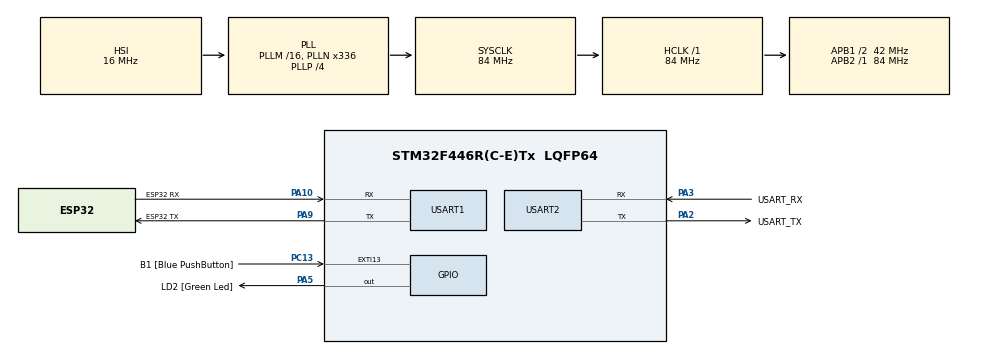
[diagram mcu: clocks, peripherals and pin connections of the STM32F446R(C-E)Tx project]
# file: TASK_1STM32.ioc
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FREERTOS.Tasks01=defaultTask,24,128,StartDefaultTask,Default,NULL,Dynamic,NULL,NULL
Mcu.Family=STM32F4
Mcu.Name=STM32F446R(C-E)Tx
Mcu.Package=LQFP64
NVIC.PriorityGroup=NVIC_PRIORITYGROUP_4
NVIC.USART1_IRQn=true\:5\:0\:false\:false\:true\:true\:true\:true\:true
PA10.GPIO_Label=ESP32 RX
PA10.Mode=Asynchronous
PA10.Signal=USART1_RX
PA13.GPIO_Label=TMS
PA13.Mode=Serial_Wire
PA13.Signal=SYS_JTMS-SWDIO
PA14.GPIO_Label=TCK
PA14.Mode=Serial_Wire
PA14.Signal=SYS_JTCK-SWCLK
PA2.GPIO_Label=USART_TX
PA2.Mode=Asynchronous
PA2.Signal=USART2_TX
PA3.GPIO_Label=USART_RX
PA3.Mode=Asynchronous
PA3.Signal=USART2_RX
PA5.GPIO_Label=LD2 [Green Led]
PA5.Signal=GPIO_Output
PA9.GPIO_Label=ESP32 TX
PA9.Mode=Asynchronous
PA9.Signal=USART1_TX
PB3.GPIO_Label=SWO
PB3.Signal=SYS_JTDO-SWO
PC13.GPIO_Label=B1 [Blue PushButton]
PC13.GPIO_ModeDefaultEXTI=GPIO_MODE_IT_FALLING
PC13.Signal=GPXTI13
PC14-OSC32_IN.Mode=LSE-External-Oscillator
PC14-OSC32_IN.Signal=RCC_OSC32_IN
PC15-OSC32_OUT.Mode=LSE-External-Oscillator
PC15-OSC32_OUT.Signal=RCC_OSC32_OUT
PH0-OSC_IN.Mode=HSE-External-Oscillator
PH0-OSC_IN.Signal=RCC_OSC_IN
PH1-OSC_OUT.Mode=HSE-External-Oscillator
PH1-OSC_OUT.Signal=RCC_OSC_OUT
ProjectManager.HeapSize=0x200
ProjectManager.StackSize=0x400
ProjectManager.TargetToolchain=STM32CubeIDE
RCC.48MHZClocksFreq_Value=84000000
RCC.AHBFreq_Value=84000000
RCC.APB1CLKDivider=RCC_HCLK_DIV2
RCC.APB1Freq_Value=42000000
RCC.APB1TimFreq_Value=84000000
RCC.APB2Freq_Value=84000000
RCC.APB2TimFreq_Value=84000000
RCC.CortexFreq_Value=84000000
RCC.FLatency-AdvancedSettings=FLASH_LATENCY_2
RCC.HCLKFreq_Value=84000000
RCC.HSE_VALUE=8000000
RCC.HSI_VALUE=16000000
RCC.PLLN=336
RCC.PLLP=RCC_PLLP_DIV4
RCC.SYSCLKFreq_VALUE=84000000
RCC.SYSCLKSource=RCC_SYSCLKSOURCE_PLLCLK
RCC.USBFreq_Value=168000000
RCC.VCOOutputFreq_Value=336000000
USART1.VirtualMode=VM_ASYNC
USART2.VirtualMode=VM_ASYNC
VP_FREERTOS_VS_CMSIS_V2.Mode=CMSIS_V2
board=NUCLEO-F446RE

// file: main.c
/* USER CODE BEGIN Header */
/**
  ******************************************************************************
  * @file           : main.c
  * @brief          : STM32 host + ESP32 AT-command Wi-Fi/MQTT modem
  ******************************************************************************
  * @attention
  *
  * Copyright (c) 2026 STMicroelectronics.
  * All rights reserved.
  *
  * This software is licensed under terms that can be found in the LICENSE file
  * in the root directory of this software component.
  * If no LICENSE file comes with this software, it is provided AS-IS.
  *
  ******************************************************************************
  *
  * OPTION B - Cloud connectivity via AT commands (STM32 host + ESP32 modem)
  * ------------------------------------------------------------------------
  *  USART2 (ST-Link virtual COM, 115200 8N1) : serial terminal / provisioning
  *  USART1 (115200 8N1)                      : UART link to ESP32 (ESP-AT fw)
  *
  *  Wiring (Nucleo-64):  PA9  (USART1_TX, D8) -> ESP32 AT-RX (default GPIO16)
  *                       PA10 (USART1_RX, D2) <- ESP32 AT-TX (default GPIO17)
  *                       GND                  -- ESP32 GND
  *
  *  Features
  *   - Dynamic provisioning of Wi-Fi SSID / password (and MQTT broker) from the
  *     serial terminal - nothing is hard-coded. Press B1 or type "reprov" at
  *     any time to provision again.
  *   - ESP32 configured with AT+CWMODE=1 and joined with AT+CWJAP.
  *   - MQTT over AT (AT+MQTTUSERCFG / MQTTCONNCFG / MQTTCONN / MQTTSUB).
  *   - Heartbeat task publishes a "keep-alive" message every 30 s.
  *   - Interrupt-driven UART Rx + dedicated parser task monitor the ESP32
  *     continuously for incoming cloud commands (+MQTTSUBRECV) and link events.
  *   - Automatic reconnect with exponential back-off, LWT "offline" message.
  *
  *  Cloud commands (publish to  stm32esp/<device-id>/cmd ):
  *     LED_ON | LED_OFF | LED_TOGGLE | PING | STATUS
  *  Replies are published to    stm32esp/<device-id>/resp
  *
  *  REQUIRED CubeMX / project settings (see also the notes at the end)
  *   - NVIC: enable "USART1 global interrupt", "USART2 global interrupt" and
  *           "EXTI line[15:10] interrupts" (B1 button).
  *   - FreeRTOS: configTOTAL_HEAP_SIZE >= 24576 bytes.
  *   - FreeRTOS: configUSE_TIMERS = 1 (needed for event flags from an ISR).
  *
  ******************************************************************************
  */
/* USER CODE END Header */
#include "main.h"
#include "cmsis_os.h"

/* USER CODE BEGIN Includes */
#include <stdio.h>
#include <stdlib.h>
#include <string.h>
#include <strings.h>
#include <stdarg.h>
#include <stdbool.h>
/* USER CODE END Includes */

/* USER CODE BEGIN PTD */
typedef enum {
  AT_OK = 0,
  AT_ERROR,
  AT_TIMEOUT,
  AT_BUSY,
  AT_BAD_PARAM
} AtStatus_t;

typedef enum {
  SESS_OK = 0,
  SESS_RETRY,
  SESS_BAD_CREDS,
  SESS_ESP_DEAD
} SessResult_t;

typedef enum {
  MON_REPROV = 0,
  MON_LINK_LOST
} MonResult_t;

typedef struct {
  char     ssid[33];     /* WIFI_SSID_MAX + 1 */
  char     pass[64];     /* WIFI_PASS_MAX + 1 */
  char     host[65];     /* MQTT_HOST_MAX + 1 */
  uint16_t port;
} Provision_t;

typedef struct {
  char text[48];
} CloudCmd_t;

typedef struct {
  char     buf[80];
  uint16_t len;
  uint8_t  lastCR;
} LineEditor_t;
/* USER CODE END PTD */

/* USER CODE BEGIN PD */
/* ---- Debug ---- */
#define AT_TRACE                1       /* 1 = print AT traffic on terminal (passwords hidden) */

/* ---- Limits ---- */
#define AT_MAX_CMD_LEN          256U    /* ESP-AT limit for one command line */
#define AT_RESP_BUF_LEN         192U
#define ESP_LINE_MAX            384U
#define CONSOLE_LINE_MAX        80U
#define WIFI_SSID_MAX           32U
#define WIFI_PASS_MAX           63U
#define MQTT_HOST_MAX           64U
#define CMD_TEXT_MAX            48U

/* ---- Timing (ms) ---- */
#define AT_MUTEX_TIMEOUT_MS     30000U
#define ESP_BOOT_TIMEOUT_MS     8000U
#define WIFI_JOIN_TIMEOUT_MS    25000U
#define MQTT_CONN_TIMEOUT_MS    20000U
#define HEARTBEAT_PERIOD_MS     30000U  /* requirement: 30 s keep-alive */
#define HEARTBEAT_MAX_FAILS     3U
#define BACKOFF_MIN_MS          2000U
#define BACKOFF_MAX_MS          30000U
#define WIFI_MAX_JOIN_FAILS     3U

/* ---- MQTT ---- */
#define MQTT_DEFAULT_HOST       "broker.emqx.io"
#define MQTT_DEFAULT_PORT       "1883"
#define MQTT_KEEPALIVE_S        60U
#define MQTT_LINK_ID            0

/* ---- Interrupt priority (must be >= configLIBRARY_MAX_SYSCALL_INTERRUPT_PRIORITY) ---- */
#define APP_IRQ_PRIO            5U

/* ---- Event flags: system level ---- */
#define EVT_WIFI_LOST           (1UL << 0)
#define EVT_MQTT_LOST           (1UL << 1)
#define EVT_REPROV              (1UL << 2)
#define EVT_ALL                 (EVT_WIFI_LOST | EVT_MQTT_LOST | EVT_REPROV)

/* ---- Event flags: AT response ---- */
#define AT_EVT_OK               (1UL << 0)
#define AT_EVT_ERR              (1UL << 1)
#define AT_EVT_READY            (1UL << 2)

/* ms -> RTOS ticks */
#define MS2T(ms)                (((uint32_t)(ms) * osKernelGetTickFreq()) / 1000U)
/* USER CODE END PD */

UART_HandleTypeDef huart1;
UART_HandleTypeDef huart2;

/* Definitions for defaultTask */
osThreadId_t defaultTaskHandle;
const osThreadAttr_t defaultTask_attributes = {
  .name = "defaultTask",
  .stack_size = 768 * 4,
  .priority = (osPriority_t) osPriorityNormal,
};
/* USER CODE BEGIN PV */
/* RTOS objects */
static osMutexId_t         atMutexHandle;
static osMutexId_t         respMutexHandle;
static osMutexId_t         logMutexHandle;
static osMessageQueueId_t  espRxQueueHandle;
static osMessageQueueId_t  consoleRxQueueHandle;
static osMessageQueueId_t  cmdQueueHandle;
static osEventFlagsId_t    sysEventsHandle;
static osEventFlagsId_t    atEventsHandle;
static osThreadId_t        espRxTaskHandle;
static osThreadId_t        heartbeatTaskHandle;
static osThreadId_t        cmdTaskHandle;

static const osMutexAttr_t atMutex_attr   = { .name = "atMutex",   .attr_bits = osMutexPrioInherit };
static const osMutexAttr_t respMutex_attr = { .name = "respMutex", .attr_bits = osMutexPrioInherit };
static const osMutexAttr_t logMutex_attr  = { .name = "logMutex",  .attr_bits = osMutexPrioInherit };

static const osThreadAttr_t espRxTask_attr = {
  .name = "espRx", .stack_size = 512 * 4, .priority = (osPriority_t) osPriorityAboveNormal,
};
static const osThreadAttr_t heartbeatTask_attr = {
  .name = "heartbeat", .stack_size = 512 * 4, .priority = (osPriority_t) osPriorityNormal,
};
static const osThreadAttr_t cmdTask_attr = {
  .name = "cloudCmd", .stack_size = 512 * 4, .priority = (osPriority_t) osPriorityNormal,
};

/* UART single-byte receive buffers (interrupt driven) */
static uint8_t espRxByte;
static uint8_t consoleRxByte;
static volatile uint32_t espRxDropped;

/* Link state shared between tasks */
static volatile bool wifiUp;
static volatile bool mqttUp;
static volatile bool atPending;
static volatile uint32_t hbCount;
static volatile uint32_t cmdCount;

/* AT engine buffers (protected by atMutex / respMutex / logMutex) */
static char   atTxBuf[AT_MAX_CMD_LEN + 3U];
static char   respBuf[AT_RESP_BUF_LEN];
static size_t respLen;
static char   logBuf[320];

/* Provisioned configuration (RAM only - entered at run time) */
static Provision_t cfg;
static bool        credsVerified;

/* Device identity / topics (built at start-up) */
static char deviceId[24];
static char topicHb[64];
static char topicCmd[64];
static char topicResp[64];
static char topicStatus[64];
/* USER CODE END PV */

void SystemClock_Config(void);
static void MX_GPIO_Init(void);
static void MX_USART1_UART_Init(void);
static void MX_USART2_UART_Init(void);
void StartDefaultTask(void *argument);

/* USER CODE BEGIN PFP */
static void Console_Out(bool stamp, const char *fmt, va_list ap);
static void Log(const char *fmt, ...);
static void Console_Printf(const char *fmt, ...);
static bool Console_Feed(LineEditor_t *ed, uint8_t c, bool mask, uint16_t maxLen);
static void Console_ReadLineBlocking(char *out, size_t outSize, bool mask);
static bool Console_Poll(uint32_t timeoutMs, char *out, size_t outSize);
static void Console_Prompt(const char *label, const char *def, bool required,
                           bool mask, char *out, size_t outSize);
static void Console_Command(const char *line);

static bool AT_Escape(const char *in, char *out, size_t outSize);
static AtStatus_t AT_Command(uint32_t timeoutMs, char *respOut, size_t respSize,
                             const char *fmt, ...);
static void ESP_ProcessLine(char *line);
static void ESP_HandleMqttRx(const char *line);
static bool ESP_Init(void);
static SessResult_t WiFi_Connect(void);
static SessResult_t MQTT_Connect(void);
static SessResult_t Session_Establish(void);
static bool MQTT_Publish(const char *topic, const char *payload, int qos, int retain);

static void Provision_Run(void);
static MonResult_t Monitor_Loop(void);
static void App_BuildIdentity(void);

static void ESP_RxTask(void *argument);
static void Heartbeat_Task(void *argument);
static void Cmd_Task(void *argument);
/* USER CODE END PFP */

int main(void)
{

  /* MCU Configuration--------------------------------------------------------*/

  /* Reset of all peripherals, Initializes the Flash interface and the Systick. */
  HAL_Init();

  /* Configure the system clock */
  SystemClock_Config();

  /* Initialize all configured peripherals */
  MX_GPIO_Init();
  MX_USART1_UART_Init();
  MX_USART2_UART_Init();
  /* USER CODE BEGIN 2 */
  /* Interrupt priorities must be FreeRTOS-safe because the UART/EXTI callbacks
     use the RTOS "FromISR" APIs. (Interrupts only fire once reception is armed
     from inside the tasks, i.e. after the scheduler is running.) */
  HAL_NVIC_SetPriority(USART1_IRQn, APP_IRQ_PRIO, 0);
  HAL_NVIC_EnableIRQ(USART1_IRQn);
  HAL_NVIC_SetPriority(USART2_IRQn, APP_IRQ_PRIO, 0);
  HAL_NVIC_EnableIRQ(USART2_IRQn);
  HAL_NVIC_SetPriority(EXTI15_10_IRQn, APP_IRQ_PRIO, 0);
  HAL_NVIC_EnableIRQ(EXTI15_10_IRQn);
  /* USER CODE END 2 */

  /* Init scheduler */
  osKernelInitialize();

  /* USER CODE BEGIN RTOS_MUTEX */
  atMutexHandle   = osMutexNew(&atMutex_attr);
  respMutexHandle = osMutexNew(&respMutex_attr);
  logMutexHandle  = osMutexNew(&logMutex_attr);
  if ((atMutexHandle == NULL) || (respMutexHandle == NULL) || (logMutexHandle == NULL))
  {
    Error_Handler();
  }
  /* USER CODE END RTOS_MUTEX */

  /* USER CODE BEGIN RTOS_QUEUES */
  espRxQueueHandle     = osMessageQueueNew(1024, sizeof(uint8_t),     NULL);
  consoleRxQueueHandle = osMessageQueueNew(64,   sizeof(uint8_t),     NULL);
  cmdQueueHandle       = osMessageQueueNew(4,    sizeof(CloudCmd_t),  NULL);
  if ((espRxQueueHandle == NULL) || (consoleRxQueueHandle == NULL) || (cmdQueueHandle == NULL))
  {
    Error_Handler();
  }
  /* USER CODE END RTOS_QUEUES */

  /* Create the thread(s) */
  /* creation of defaultTask */
  defaultTaskHandle = osThreadNew(StartDefaultTask, NULL, &defaultTask_attributes);

  /* USER CODE BEGIN RTOS_THREADS */
  espRxTaskHandle     = osThreadNew(ESP_RxTask,       NULL, &espRxTask_attr);
  heartbeatTaskHandle = osThreadNew(Heartbeat_Task,   NULL, &heartbeatTask_attr);
  cmdTaskHandle       = osThreadNew(Cmd_Task,         NULL, &cmdTask_attr);
  if ((defaultTaskHandle == NULL) || (espRxTaskHandle == NULL) ||
      (heartbeatTaskHandle == NULL) || (cmdTaskHandle == NULL))
  {
    Error_Handler();
  }
  /* USER CODE END RTOS_THREADS */

  /* USER CODE BEGIN RTOS_EVENTS */
  sysEventsHandle = osEventFlagsNew(NULL);
  atEventsHandle  = osEventFlagsNew(NULL);
  if ((sysEventsHandle == NULL) || (atEventsHandle == NULL))
  {
    Error_Handler();
  }
  /* USER CODE END RTOS_EVENTS */

  /* Start scheduler */
  osKernelStart();

  /* We should never get here as control is now taken by the scheduler */

  /* Infinite loop */
  while (1)
  {

  }
}

void SystemClock_Config(void)
{
  RCC_OscInitTypeDef RCC_OscInitStruct = {0};
  RCC_ClkInitTypeDef RCC_ClkInitStruct = {0};

  /** Configure the main internal regulator output voltage
  */
  __HAL_RCC_PWR_CLK_ENABLE();
  __HAL_PWR_VOLTAGESCALING_CONFIG(PWR_REGULATOR_VOLTAGE_SCALE3);

  /** Initializes the RCC Oscillators according to the specified parameters
  * in the RCC_OscInitTypeDef structure.
  */
  RCC_OscInitStruct.OscillatorType = RCC_OSCILLATORTYPE_HSI;
  RCC_OscInitStruct.HSIState = RCC_HSI_ON;
  RCC_OscInitStruct.HSICalibrationValue = RCC_HSICALIBRATION_DEFAULT;
  RCC_OscInitStruct.PLL.PLLState = RCC_PLL_ON;
  RCC_OscInitStruct.PLL.PLLSource = RCC_PLLSOURCE_HSI;
  RCC_OscInitStruct.PLL.PLLM = 16;
  RCC_OscInitStruct.PLL.PLLN = 336;
  RCC_OscInitStruct.PLL.PLLP = RCC_PLLP_DIV4;
  RCC_OscInitStruct.PLL.PLLQ = 2;
  RCC_OscInitStruct.PLL.PLLR = 2;
  if (HAL_RCC_OscConfig(&RCC_OscInitStruct) != HAL_OK)
  {
    Error_Handler();
  }

  /** Initializes the CPU, AHB and APB buses clocks
  */
  RCC_ClkInitStruct.ClockType = RCC_CLOCKTYPE_HCLK|RCC_CLOCKTYPE_SYSCLK
                              |RCC_CLOCKTYPE_PCLK1|RCC_CLOCKTYPE_PCLK2;
  RCC_ClkInitStruct.SYSCLKSource = RCC_SYSCLKSOURCE_PLLCLK;
  RCC_ClkInitStruct.AHBCLKDivider = RCC_SYSCLK_DIV1;
  RCC_ClkInitStruct.APB1CLKDivider = RCC_HCLK_DIV2;
  RCC_ClkInitStruct.APB2CLKDivider = RCC_HCLK_DIV1;

  if (HAL_RCC_ClockConfig(&RCC_ClkInitStruct, FLASH_LATENCY_2) != HAL_OK)
  {
    Error_Handler();
  }
}

static void MX_USART1_UART_Init(void)
{

  huart1.Instance = USART1;
  huart1.Init.BaudRate = 115200;
  huart1.Init.WordLength = UART_WORDLENGTH_8B;
  huart1.Init.StopBits = UART_STOPBITS_1;
  huart1.Init.Parity = UART_PARITY_NONE;
  huart1.Init.Mode = UART_MODE_TX_RX;
  huart1.Init.HwFlowCtl = UART_HWCONTROL_NONE;
  huart1.Init.OverSampling = UART_OVERSAMPLING_16;
  if (HAL_UART_Init(&huart1) != HAL_OK)
  {
    Error_Handler();
  }

}

static void MX_USART2_UART_Init(void)
{

  huart2.Instance = USART2;
  huart2.Init.BaudRate = 115200;
  huart2.Init.WordLength = UART_WORDLENGTH_8B;
  huart2.Init.StopBits = UART_STOPBITS_1;
  huart2.Init.Parity = UART_PARITY_NONE;
  huart2.Init.Mode = UART_MODE_TX_RX;
  huart2.Init.HwFlowCtl = UART_HWCONTROL_NONE;
  huart2.Init.OverSampling = UART_OVERSAMPLING_16;
  if (HAL_UART_Init(&huart2) != HAL_OK)
  {
    Error_Handler();
  }

}

static void MX_GPIO_Init(void)
{
  GPIO_InitTypeDef GPIO_InitStruct = {0};

  /* GPIO Ports Clock Enable */
  __HAL_RCC_GPIOC_CLK_ENABLE();
  __HAL_RCC_GPIOH_CLK_ENABLE();
  __HAL_RCC_GPIOA_CLK_ENABLE();
  __HAL_RCC_GPIOB_CLK_ENABLE();

  /*Configure GPIO pin Output Level */
  HAL_GPIO_WritePin(LD2_GPIO_Port, LD2_Pin, GPIO_PIN_RESET);

  /*Configure GPIO pin : B1_Pin */
  GPIO_InitStruct.Pin = B1_Pin;
  GPIO_InitStruct.Mode = GPIO_MODE_IT_FALLING;
  GPIO_InitStruct.Pull = GPIO_NOPULL;
  HAL_GPIO_Init(B1_GPIO_Port, &GPIO_InitStruct);

  /*Configure GPIO pin : LD2_Pin */
  GPIO_InitStruct.Pin = LD2_Pin;
  GPIO_InitStruct.Mode = GPIO_MODE_OUTPUT_PP;
  GPIO_InitStruct.Pull = GPIO_NOPULL;
  GPIO_InitStruct.Speed = GPIO_SPEED_FREQ_LOW;
  HAL_GPIO_Init(LD2_GPIO_Port, &GPIO_InitStruct);

}

/* USER CODE BEGIN 4 */

/* ===========================================================================
 *  HAL callbacks (ISR context)
 * ========================================================================= */

void HAL_UART_RxCpltCallback(UART_HandleTypeDef *huart)
{
  if (huart->Instance == USART1)            /* byte from ESP32 */
  {
    if (osMessageQueuePut(espRxQueueHandle, &espRxByte, 0, 0) != osOK)
    {
      espRxDropped++;
    }
    (void)HAL_UART_Receive_IT(&huart1, &espRxByte, 1);
  }
  else if (huart->Instance == USART2)       /* byte from serial terminal */
  {
    (void)osMessageQueuePut(consoleRxQueueHandle, &consoleRxByte, 0, 0);
    (void)HAL_UART_Receive_IT(&huart2, &consoleRxByte, 1);
  }
}

void HAL_UART_ErrorCallback(UART_HandleTypeDef *huart)
{
  /* Overrun / framing / noise: make sure reception keeps running.
     (Returns HAL_BUSY, harmlessly, if the HAL already kept it running.) */
  if (huart->Instance == USART1)
  {
    (void)HAL_UART_Receive_IT(&huart1, &espRxByte, 1);
  }
  else if (huart->Instance == USART2)
  {
    (void)HAL_UART_Receive_IT(&huart2, &consoleRxByte, 1);
  }
}

void HAL_GPIO_EXTI_Callback(uint16_t GPIO_Pin)
{
  static uint32_t lastPress = 0;

  if (GPIO_Pin == B1_Pin)
  {
    uint32_t now = HAL_GetTick();
    if (((now - lastPress) > 300U) && (sysEventsHandle != NULL) &&
        (osKernelGetState() == osKernelRunning))
    {
      lastPress = now;
      (void)osEventFlagsSet(sysEventsHandle, EVT_REPROV);   /* B1 = re-provision */
    }
  }
}

/* ===========================================================================
 *  Console (USART2) helpers
 * ========================================================================= */

static void Console_Out(bool stamp, const char *fmt, va_list ap)
{
  if (osMutexAcquire(logMutexHandle, MS2T(1000)) != osOK)
  {
    return;
  }

  int n = 0;
  if (stamp)
  {
    unsigned long t = (unsigned long)HAL_GetTick();
    n = snprintf(logBuf, sizeof(logBuf), "[%5lu.%03lu] ", t / 1000UL, t % 1000UL);
  }

  size_t cap = sizeof(logBuf) - (size_t)n - 3U;           /* room for "\r\n" + NUL */
  int m = vsnprintf(&logBuf[n], cap, fmt, ap);
  if (m < 0)
  {
    m = 0;
  }
  if ((size_t)m >= cap)
  {
    m = (int)cap - 1;                                      /* truncated */
  }
  n += m;

  if (stamp)
  {
    logBuf[n++] = '\r';
    logBuf[n++] = '\n';
  }

  (void)HAL_UART_Transmit(&huart2, (uint8_t *)logBuf, (uint16_t)n, 500);
  (void)osMutexRelease(logMutexHandle);
}

/* Time-stamped log line (adds CRLF) */
static void Log(const char *fmt, ...)
{
  va_list ap;
  va_start(ap, fmt);
  Console_Out(true, fmt, ap);
  va_end(ap);
}

/* Raw output (no time stamp, no automatic newline) */
static void Console_Printf(const char *fmt, ...)
{
  va_list ap;
  va_start(ap, fmt);
  Console_Out(false, fmt, ap);
  va_end(ap);
}

/* Feed one received character into a line editor. Returns true when a full
   line is available in ed->buf (NUL-terminated). Handles echo + backspace. */
static bool Console_Feed(LineEditor_t *ed, uint8_t c, bool mask, uint16_t maxLen)
{
  if ((c == '\r') || (c == '\n'))
  {
    if ((c == '\n') && ed->lastCR)          /* second half of CRLF */
    {
      ed->lastCR = 0;
      return false;
    }
    ed->lastCR = (c == '\r') ? 1U : 0U;
    ed->buf[ed->len] = '\0';
    ed->len = 0;
    Console_Printf("\r\n");
    return true;
  }

  ed->lastCR = 0;

  if ((c == 0x08U) || (c == 0x7FU))         /* backspace / delete */
  {
    if (ed->len > 0U)
    {
      ed->len--;
      Console_Printf("\b \b");
    }
    return false;
  }

  if ((c >= 0x20U) && (c < 0x7FU) && (ed->len < maxLen))
  {
    ed->buf[ed->len++] = (char)c;
    Console_Printf("%c", mask ? '*' : (char)c);
  }
  return false;
}

/* Blocking line read (used for provisioning prompts) */
static void Console_ReadLineBlocking(char *out, size_t outSize, bool mask)
{
  LineEditor_t ed;
  uint8_t c;
  uint16_t maxLen = (uint16_t)((outSize - 1U) < (CONSOLE_LINE_MAX - 1U) ? (outSize - 1U)
                                                                         : (CONSOLE_LINE_MAX - 1U));
  memset(&ed, 0, sizeof(ed));
  (void)osMessageQueueReset(consoleRxQueueHandle);

  for (;;)
  {
    if (osMessageQueueGet(consoleRxQueueHandle, &c, NULL, osWaitForever) == osOK)
    {
      if (Console_Feed(&ed, c, mask, maxLen))
      {
        strncpy(out, ed.buf, outSize - 1U);
        out[outSize - 1U] = '\0';
        return;
      }
    }
  }
}

/* Non-blocking-ish poll used by the monitor loop. true = a full line arrived */
static bool Console_Poll(uint32_t timeoutMs, char *out, size_t outSize)
{
  static LineEditor_t ed;
  uint8_t c;

  if (osMessageQueueGet(consoleRxQueueHandle, &c, NULL, MS2T(timeoutMs)) != osOK)
  {
    return false;
  }
  if (Console_Feed(&ed, c, false, CONSOLE_LINE_MAX - 1U))
  {
    strncpy(out, ed.buf, outSize - 1U);
    out[outSize - 1U] = '\0';
    return true;
  }
  return false;
}

static void Console_Prompt(const char *label, const char *def, bool required,
                           bool mask, char *out, size_t outSize)
{
  for (;;)
  {
    if ((def != NULL) && (def[0] != '\0'))
    {
      Console_Printf("  %s [%s]: ", label, def);
    }
    else
    {
      Console_Printf("  %s: ", label);
    }

    Console_ReadLineBlocking(out, outSize, mask);

    if (out[0] == '\0')
    {
      if ((def != NULL) && (def[0] != '\0'))
      {
        strncpy(out, def, outSize - 1U);
        out[outSize - 1U] = '\0';
        return;
      }
      if (!required)
      {
        return;
      }
      Console_Printf("  -> a value is required\r\n");
      continue;
    }
    return;
  }
}

/* ===========================================================================
 *  Application identity
 * ========================================================================= */

static void App_BuildIdentity(void)
{
  uint32_t uid = HAL_GetUIDw0() ^ HAL_GetUIDw1() ^ HAL_GetUIDw2();

  snprintf(deviceId,    sizeof(deviceId),    "stm32-%08lX", (unsigned long)uid);
  snprintf(topicHb,     sizeof(topicHb),     "stm32esp/%s/heartbeat", deviceId);
  snprintf(topicCmd,    sizeof(topicCmd),    "stm32esp/%s/cmd",       deviceId);
  snprintf(topicResp,   sizeof(topicResp),   "stm32esp/%s/resp",      deviceId);
  snprintf(topicStatus, sizeof(topicStatus), "stm32esp/%s/status",    deviceId);
}

/* ===========================================================================
 *  AT command engine
 *   - one command in flight at a time (atMutex)
 *   - ESP_RxTask classifies every line coming from the ESP32:
 *       * unsolicited (URC) lines  -> handled immediately
 *       * response lines           -> collected, OK/ERROR wakes the sender
 * ========================================================================= */

/* Escape , " and \ in a string parameter (required by ESP-AT) */
static bool AT_Escape(const char *in, char *out, size_t outSize)
{
  size_t j = 0;

  for (; *in != '\0'; in++)
  {
    if ((*in == '"') || (*in == ',') || (*in == '\\'))
    {
      if ((j + 2U) >= outSize)
      {
        return false;
      }
      out[j++] = '\\';
    }
    else if ((j + 1U) >= outSize)
    {
      return false;
    }
    out[j++] = *in;
  }
  out[j] = '\0';
  return true;
}

/* Send one AT command and wait for OK / ERROR / FAIL.
   If respOut != NULL the response lines are copied there. */
static AtStatus_t AT_Command(uint32_t timeoutMs, char *respOut, size_t respSize,
                             const char *fmt, ...)
{
  AtStatus_t status;
  va_list ap;
  int n;

  if ((respOut != NULL) && (respSize > 0U))
  {
    respOut[0] = '\0';
  }

  if (osMutexAcquire(atMutexHandle, MS2T(AT_MUTEX_TIMEOUT_MS)) != osOK)
  {
    return AT_BUSY;
  }

  va_start(ap, fmt);
  n = vsnprintf(atTxBuf, sizeof(atTxBuf), fmt, ap);
  va_end(ap);

  if ((n <= 0) || ((size_t)n > AT_MAX_CMD_LEN))
  {
    Log("AT: command too long / invalid");
    (void)osMutexRelease(atMutexHandle);
    return AT_BAD_PARAM;
  }

#if AT_TRACE
  if (strstr(atTxBuf, "CWJAP") != NULL)
  {
    Log(">> AT+CWJAP=<hidden>");
  }
  else
  {
    Log(">> %s", atTxBuf);
  }
#endif

  atTxBuf[n]     = '\r';
  atTxBuf[n + 1] = '\n';

  (void)osEventFlagsClear(atEventsHandle, AT_EVT_OK | AT_EVT_ERR);

  if (osMutexAcquire(respMutexHandle, MS2T(100)) == osOK)
  {
    respLen = 0;
    respBuf[0] = '\0';
    (void)osMutexRelease(respMutexHandle);
  }
  atPending = true;

  if (HAL_UART_Transmit(&huart1, (uint8_t *)atTxBuf, (uint16_t)(n + 2), 1000) != HAL_OK)
  {
    atPending = false;
    (void)osMutexRelease(atMutexHandle);
    return AT_ERROR;
  }

  uint32_t f = osEventFlagsWait(atEventsHandle, AT_EVT_OK | AT_EVT_ERR,
                                osFlagsWaitAny, MS2T(timeoutMs));
  atPending = false;

  if ((f & osFlagsError) != 0U)
  {
    status = AT_TIMEOUT;
  }
  else if ((f & AT_EVT_ERR) != 0U)
  {
    status = AT_ERROR;
  }
  else
  {
    status = AT_OK;
  }

  if ((respOut != NULL) && (respSize > 0U) &&
      (osMutexAcquire(respMutexHandle, MS2T(100)) == osOK))
  {
    strncpy(respOut, respBuf, respSize - 1U);
    respOut[respSize - 1U] = '\0';
    (void)osMutexRelease(respMutexHandle);
  }

  (void)osMutexRelease(atMutexHandle);

  if (status == AT_TIMEOUT)
  {
    Log("AT: timeout waiting for response");
  }
  return status;
}

/* ===========================================================================
 *  ESP32 receive path: asynchronous monitoring of UART Rx
 * ========================================================================= */

/* Parse   +MQTTSUBRECV:<id>,"<topic>",<len>,<data>   and queue the command */
static void ESP_HandleMqttRx(const char *line)
{
  const char *p = strchr(line, '"');
  if (p == NULL) { return; }
  const char *q = strchr(p + 1, '"');
  if ((q == NULL) || (q[1] != ',')) { return; }

  char *end;
  long len = strtol(q + 2, &end, 10);
  if ((end == (q + 2)) || (*end != ',') || (len < 0)) { return; }

  const char *data = end + 1;
  while (*data == ' ') { data++; }

  CloudCmd_t cmd;
  size_t n = strlen(data);
  if ((long)n > len)                { n = (size_t)len; }
  if (n >= sizeof(cmd.text))        { n = sizeof(cmd.text) - 1U; }
  memcpy(cmd.text, data, n);
  cmd.text[n] = '\0';

  while ((n > 0U) && ((cmd.text[n - 1U] == ' ') || (cmd.text[n - 1U] == '\r') ||
                      (cmd.text[n - 1U] == '\n')))
  {
    cmd.text[--n] = '\0';
  }
  if (n == 0U) { return; }

  if (osMessageQueuePut(cmdQueueHandle, &cmd, 0, 0) != osOK)
  {
    Log("Cloud command queue full - command dropped");
  }
}

static void ESP_ProcessLine(char *line)
{
#if AT_TRACE
  Log("<< %s", line);
#endif

  /* ---- Unsolicited result codes (can arrive at any time) ---- */
  if (strncmp(line, "+MQTTSUBRECV:", 13) == 0)
  {
    ESP_HandleMqttRx(line);
    return;
  }
  if (strncmp(line, "+MQTTDISCONNECTED:", 18) == 0)
  {
    mqttUp = false;
    (void)osEventFlagsSet(sysEventsHandle, EVT_MQTT_LOST);
    return;
  }
  if (strcmp(line, "WIFI DISCONNECT") == 0)
  {
    wifiUp = false;
    (void)osEventFlagsSet(sysEventsHandle, EVT_WIFI_LOST);
    return;
  }
  if (strcmp(line, "ready") == 0)
  {
    (void)osEventFlagsSet(atEventsHandle, AT_EVT_READY);
    return;
  }

  /* ---- Response to the command currently in flight ---- */
  if (atPending)
  {
    if (osMutexAcquire(respMutexHandle, MS2T(20)) == osOK)
    {
      size_t l = strlen(line);
      if ((respLen + l + 2U) < sizeof(respBuf))
      {
        memcpy(&respBuf[respLen], line, l);
        respLen += l;
        respBuf[respLen++] = '\n';
        respBuf[respLen]   = '\0';
      }
      (void)osMutexRelease(respMutexHandle);
    }

    if (strcmp(line, "OK") == 0)
    {
      (void)osEventFlagsSet(atEventsHandle, AT_EVT_OK);
    }
    else if ((strcmp(line, "ERROR") == 0) || (strcmp(line, "FAIL") == 0) ||
             (strcmp(line, "SEND FAIL") == 0))
    {
      (void)osEventFlagsSet(atEventsHandle, AT_EVT_ERR);
    }
  }
}

static void ESP_RxTask(void *argument)
{
  static char line[ESP_LINE_MAX];
  size_t len = 0;
  uint8_t c;

  (void)argument;
  (void)HAL_UART_Receive_IT(&huart1, &espRxByte, 1);

  for (;;)
  {
    if (osMessageQueueGet(espRxQueueHandle, &c, NULL, osWaitForever) != osOK)
    {
      continue;
    }

    if (c == '\n')
    {
      line[len] = '\0';
      if (len > 0U)
      {
        ESP_ProcessLine(line);
      }
      len = 0;
    }
    else if (c == '\r')
    {
      /* ignore */
    }
    else if (len < (ESP_LINE_MAX - 1U))
    {
      line[len++] = (char)c;
    }
    /* else: line too long -> extra characters dropped */
  }
}

/* ===========================================================================
 *  ESP32 bring-up, Wi-Fi and MQTT
 * ========================================================================= */

static SessResult_t MapStatus(AtStatus_t st)
{
  return (st == AT_TIMEOUT) ? SESS_ESP_DEAD : SESS_RETRY;
}

/* Sync, reset and configure the ESP32 (AT, AT+RST, ATE0, AT+CWMODE=1) */
static bool ESP_Init(void)
{
  bool alive = false;

  Log("Initialising ESP32 AT modem ...");

  for (int i = 0; (i < 5) && !alive; i++)
  {
    alive = (AT_Command(1000, NULL, 0, "AT") == AT_OK);
  }
  if (!alive)
  {
    Log("ESP32 does not answer 'AT'. Check wiring (PA9->ESP RX, PA10<-ESP TX, GND), "
        "ESP-AT firmware and 115200 baud.");
    return false;
  }

  /* Software reset for a known state, wait for the "ready" banner */
  (void)osEventFlagsClear(atEventsHandle, AT_EVT_READY);
  if (AT_Command(2000, NULL, 0, "AT+RST") == AT_OK)
  {
    uint32_t f = osEventFlagsWait(atEventsHandle, AT_EVT_READY, osFlagsWaitAny,
                                  MS2T(ESP_BOOT_TIMEOUT_MS));
    if ((f & osFlagsError) != 0U)
    {
      Log("ESP32 did not report 'ready' after reset - continuing");
    }
  }
  osDelay(MS2T(500));

  alive = false;
  for (int i = 0; (i < 10) && !alive; i++)
  {
    alive = (AT_Command(1000, NULL, 0, "AT") == AT_OK);
  }
  if (!alive)
  {
    Log("ESP32 did not come back after reset");
    return false;
  }

  (void)AT_Command(1000, NULL, 0, "ATE0");                 /* echo off */

  if (AT_Command(2000, NULL, 0, "AT+CWMODE=1") != AT_OK)  /* station mode */
  {
    Log("AT+CWMODE=1 failed");
    return false;
  }

  Log("ESP32 ready (station mode)");
  return true;
}

static SessResult_t WiFi_Connect(void)
{
  static uint8_t joinFails = 0;
  char ssidEsc[2U * WIFI_SSID_MAX + 1U];
  char passEsc[2U * WIFI_PASS_MAX + 1U];
  char resp[AT_RESP_BUF_LEN];

  if (!AT_Escape(cfg.ssid, ssidEsc, sizeof(ssidEsc)) ||
      !AT_Escape(cfg.pass, passEsc, sizeof(passEsc)))
  {
    return SESS_BAD_CREDS;
  }

  Log("Joining Wi-Fi \"%s\" ...", cfg.ssid);
  AtStatus_t st = AT_Command(WIFI_JOIN_TIMEOUT_MS, resp, sizeof(resp),
                             "AT+CWJAP=\"%s\",\"%s\"", ssidEsc, passEsc);

  if (st == AT_OK)
  {
    joinFails = 0;
    credsVerified = true;
    wifiUp = true;

    if (AT_Command(2000, resp, sizeof(resp), "AT+CIPSTA?") == AT_OK)
    {
      const char *ip = strstr(resp, "ip:\"");
      if (ip != NULL)
      {
        ip += 4;
        const char *e = strchr(ip, '"');
        if (e != NULL)
        {
          Log("Wi-Fi connected, IP address %.*s", (int)(e - ip), ip);
        }
      }
    }
    return SESS_OK;
  }

  if (st == AT_TIMEOUT)
  {
    return SESS_ESP_DEAD;
  }
  if (st != AT_ERROR)
  {
    return SESS_RETRY;
  }

  /* AT+CWJAP failed: "+CWJAP:<code>" then "FAIL" */
  const char *p = strstr(resp, "+CWJAP:");
  int code = (p != NULL) ? atoi(p + 7) : 0;
  const char *why;
  switch (code)
  {
    case 1:  why = "connection timeout";            break;
    case 2:  why = "wrong password";                break;
    case 3:  why = "access point not found";        break;
    case 4:  why = "connection failed";             break;
    default: why = "unknown error";                 break;
  }
  Log("Wi-Fi join failed: %s (code %d)", why, code);

  if (credsVerified)
  {
    return SESS_RETRY;               /* credentials worked before: keep retrying */
  }
  if ((code == 2) || (code == 3) || (++joinFails >= WIFI_MAX_JOIN_FAILS))
  {
    joinFails = 0;
    return SESS_BAD_CREDS;           /* ask the user for new credentials */
  }
  return SESS_RETRY;
}

static bool MQTT_Publish(const char *topic, const char *payload, int qos, int retain)
{
  char esc[2U * 100U + 1U];

  if (!AT_Escape(payload, esc, sizeof(esc)))
  {
    return false;
  }
  return (AT_Command(5000, NULL, 0, "AT+MQTTPUB=%d,\"%s\",\"%s\",%d,%d",
                     MQTT_LINK_ID, topic, esc, qos, retain) == AT_OK);
}

static SessResult_t MQTT_Connect(void)
{
  char hostEsc[2U * MQTT_HOST_MAX + 1U];
  AtStatus_t st;

  if (!AT_Escape(cfg.host, hostEsc, sizeof(hostEsc)))
  {
    return SESS_RETRY;
  }

  Log("Connecting to MQTT broker %s:%u as %s ...", cfg.host, (unsigned)cfg.port, deviceId);

  /* scheme 1 = MQTT over TCP */
  st = AT_Command(3000, NULL, 0, "AT+MQTTUSERCFG=%d,1,\"%s\",\"\",\"\",0,0,\"\"",
                  MQTT_LINK_ID, deviceId);
  if (st != AT_OK) { return MapStatus(st); }

  /* keep-alive + Last-Will ("offline", retained) */
  st = AT_Command(3000, NULL, 0, "AT+MQTTCONNCFG=%d,%u,0,\"%s\",\"offline\",1,1",
                  MQTT_LINK_ID, (unsigned)MQTT_KEEPALIVE_S, topicStatus);
  if (st != AT_OK) { return MapStatus(st); }

  st = AT_Command(MQTT_CONN_TIMEOUT_MS, NULL, 0, "AT+MQTTCONN=%d,\"%s\",%u,0",
                  MQTT_LINK_ID, hostEsc, (unsigned)cfg.port);
  if (st != AT_OK)
  {
    Log("MQTT connect failed");
    return MapStatus(st);
  }

  st = AT_Command(5000, NULL, 0, "AT+MQTTSUB=%d,\"%s\",1", MQTT_LINK_ID, topicCmd);
  if (st != AT_OK)
  {
    Log("MQTT subscribe failed");
    return MapStatus(st);
  }

  (void)MQTT_Publish(topicStatus, "online", 1, 1);

  mqttUp = true;
  Log("MQTT connected. Subscribed to %s", topicCmd);
  return SESS_OK;
}

static SessResult_t Session_Establish(void)
{
  SessResult_t r;

  (void)AT_Command(3000, NULL, 0, "AT+MQTTCLEAN=%d", MQTT_LINK_ID);  /* ignore result */

  r = WiFi_Connect();
  if (r != SESS_OK)
  {
    return r;
  }

  /* drop stale link events produced while (re)joining */
  (void)osEventFlagsClear(sysEventsHandle, EVT_WIFI_LOST | EVT_MQTT_LOST);

  return MQTT_Connect();
}

/* ===========================================================================
 *  Provisioning menu (serial terminal)
 * ========================================================================= */

static void Provision_Run(void)
{
  char tmp[16];
  char *e;

  (void)osEventFlagsClear(sysEventsHandle, EVT_REPROV);
  credsVerified = false;

  Console_Printf("\r\n==============================================\r\n");
  Console_Printf("   Wi-Fi / Cloud provisioning\r\n");
  Console_Printf("==============================================\r\n");

  for (;;)
  {
    Console_Prompt("Wi-Fi SSID", NULL, true, false, cfg.ssid, sizeof(cfg.ssid));
    Console_Prompt("Wi-Fi password (empty = open network)", NULL, false, true,
                   cfg.pass, sizeof(cfg.pass));
    Console_Prompt("MQTT broker host", MQTT_DEFAULT_HOST, false, false,
                   cfg.host, sizeof(cfg.host));

    for (;;)
    {
      Console_Prompt("MQTT broker port", MQTT_DEFAULT_PORT, false, false, tmp, sizeof(tmp));
      long p = strtol(tmp, &e, 10);
      if ((*e == '\0') && (p > 0L) && (p < 65536L))
      {
        cfg.port = (uint16_t)p;
        break;
      }
      Console_Printf("  -> invalid port number\r\n");
    }

    Console_Printf("\r\n  SSID     : %s\r\n", cfg.ssid);
    Console_Printf("  Password : %s (%u chars)\r\n",
                   (cfg.pass[0] != '\0') ? "********" : "<none>", (unsigned)strlen(cfg.pass));
    Console_Printf("  Broker   : %s:%u\r\n\r\n", cfg.host, (unsigned)cfg.port);

    Console_Prompt("Use these settings? (Y/n)", "y", false, false, tmp, sizeof(tmp));
    if ((tmp[0] == 'y') || (tmp[0] == 'Y'))
    {
      break;
    }
  }
  Console_Printf("\r\n");
}

/* ===========================================================================
 *  Runtime console commands
 * ========================================================================= */

static void Console_Command(const char *line)
{
  if (line[0] == '\0')
  {
    return;
  }

  if (strcasecmp(line, "help") == 0)
  {
    Console_Printf("Commands:\r\n"
                   "  help    - this text\r\n"
                   "  status  - show link / counters\r\n"
                   "  reprov  - enter new Wi-Fi credentials (same as button B1)\r\n"
                   "  reset   - reboot the STM32\r\n");
  }
  else if (strcasecmp(line, "status") == 0)
  {
    uint32_t up = osKernelGetTickCount() / osKernelGetTickFreq();
    Console_Printf("Device    : %s\r\n"
                   "Uptime    : %lu s\r\n"
                   "Wi-Fi     : %s (%s)\r\n"
                   "MQTT      : %s (%s:%u)\r\n"
                   "Heartbeats: %lu sent\r\n"
                   "Commands  : %lu received\r\n"
                   "ESP Rx drops: %lu bytes\r\n",
                   deviceId, (unsigned long)up,
                   wifiUp ? "up" : "down", cfg.ssid,
                   mqttUp ? "up" : "down", cfg.host, (unsigned)cfg.port,
                   (unsigned long)hbCount, (unsigned long)cmdCount,
                   (unsigned long)espRxDropped);
  }
  else if (strcasecmp(line, "reprov") == 0)
  {
    (void)osEventFlagsSet(sysEventsHandle, EVT_REPROV);
  }
  else if (strcasecmp(line, "reset") == 0)
  {
    Log("Rebooting ...");
    osDelay(MS2T(50));
    NVIC_SystemReset();
  }
  else
  {
    Console_Printf("Unknown command '%s' - type 'help'\r\n", line);
  }
}

/* Stay here while the link is healthy; leave on link loss or re-provision */
static MonResult_t Monitor_Loop(void)
{
  char line[CONSOLE_LINE_MAX];

  Console_Printf("\r\nOnline. Type 'help' for commands, press B1 to re-provision.\r\n");

  for (;;)
  {
    if (Console_Poll(100, line, sizeof(line)))
    {
      Console_Command(line);
    }

    uint32_t ev = osEventFlagsWait(sysEventsHandle, EVT_ALL, osFlagsWaitAny, 0);
    if ((ev & osFlagsError) == 0U)
    {
      if ((ev & EVT_REPROV) != 0U)
      {
        return MON_REPROV;
      }
      if ((ev & (EVT_WIFI_LOST | EVT_MQTT_LOST)) != 0U)
      {
        return MON_LINK_LOST;
      }
    }
  }
}

/* ===========================================================================
 *  Heartbeat task  -  "keep-alive" message every 30 seconds
 * ========================================================================= */

static void Heartbeat_Task(void *argument)
{
  char payload[96];
  uint32_t seq = 0;
  uint8_t fails = 0;
  uint32_t period = MS2T(HEARTBEAT_PERIOD_MS);
  uint32_t next = osKernelGetTickCount();

  (void)argument;

  for (;;)
  {
    next += period;
    (void)osDelayUntil(next);                 /* drift-free 30 s period */

    if (!mqttUp)
    {
      fails = 0;
      continue;
    }

    uint32_t up = osKernelGetTickCount() / osKernelGetTickFreq();
    snprintf(payload, sizeof(payload), "HEARTBEAT id=%s seq=%lu uptime=%lus",
             deviceId, (unsigned long)(++seq), (unsigned long)up);

    if (MQTT_Publish(topicHb, payload, 0, 0))
    {
      fails = 0;
      hbCount++;
      Log("Heartbeat #%lu sent", (unsigned long)seq);
    }
    else
    {
      Log("Heartbeat #%lu FAILED (%u/%u)", (unsigned long)seq,
          (unsigned)(fails + 1U), (unsigned)HEARTBEAT_MAX_FAILS);
      if (++fails >= HEARTBEAT_MAX_FAILS)
      {
        fails = 0;
        mqttUp = false;
        (void)osEventFlagsSet(sysEventsHandle, EVT_MQTT_LOST);
      }
    }
  }
}

/* ===========================================================================
 *  Cloud command task  -  executes commands received from the broker
 * ========================================================================= */

static void Cmd_Task(void *argument)
{
  CloudCmd_t cmd;
  char reply[96];

  (void)argument;

  for (;;)
  {
    if (osMessageQueueGet(cmdQueueHandle, &cmd, NULL, osWaitForever) != osOK)
    {
      continue;
    }

    cmdCount++;
    Log("Cloud command: '%s'", cmd.text);

    if (strcasecmp(cmd.text, "LED_ON") == 0)
    {
      HAL_GPIO_WritePin(LD2_GPIO_Port, LD2_Pin, GPIO_PIN_SET);
      snprintf(reply, sizeof(reply), "ACK LED_ON");
    }
    else if (strcasecmp(cmd.text, "LED_OFF") == 0)
    {
      HAL_GPIO_WritePin(LD2_GPIO_Port, LD2_Pin, GPIO_PIN_RESET);
      snprintf(reply, sizeof(reply), "ACK LED_OFF");
    }
    else if (strcasecmp(cmd.text, "LED_TOGGLE") == 0)
    {
      HAL_GPIO_TogglePin(LD2_GPIO_Port, LD2_Pin);
      snprintf(reply, sizeof(reply), "ACK LED_TOGGLE led=%s",
               (HAL_GPIO_ReadPin(LD2_GPIO_Port, LD2_Pin) == GPIO_PIN_SET) ? "on" : "off");
    }
    else if (strcasecmp(cmd.text, "PING") == 0)
    {
      snprintf(reply, sizeof(reply), "PONG");
    }
    else if (strcasecmp(cmd.text, "STATUS") == 0)
    {
      snprintf(reply, sizeof(reply), "OK uptime=%lus hb=%lu cmds=%lu led=%s",
               (unsigned long)(osKernelGetTickCount() / osKernelGetTickFreq()),
               (unsigned long)hbCount, (unsigned long)cmdCount,
               (HAL_GPIO_ReadPin(LD2_GPIO_Port, LD2_Pin) == GPIO_PIN_SET) ? "on" : "off");
    }
    else
    {
      snprintf(reply, sizeof(reply), "ERR unknown-command");
    }

    if (mqttUp)
    {
      (void)MQTT_Publish(topicResp, reply, 0, 0);
    }
  }
}

/* USER CODE END 4 */

/* USER CODE BEGIN Header_StartDefaultTask */
/**
  * @brief  Function implementing the defaultTask thread.
  *         Connection manager: provisioning -> ESP32 init -> Wi-Fi -> MQTT ->
  *         monitor, with automatic recovery and exponential back-off.
  * @param  argument: Not used
  * @retval None
  */
/* USER CODE END Header_StartDefaultTask */
void StartDefaultTask(void *argument)
{
  /* USER CODE BEGIN 5 */
  bool     haveCreds = false;
  bool     espReady  = false;
  uint32_t backoffMs = BACKOFF_MIN_MS;

  (void)argument;

  App_BuildIdentity();
  (void)HAL_UART_Receive_IT(&huart2, &consoleRxByte, 1);

  Console_Printf("\r\n\r\n**********************************************\r\n");
  Console_Printf("  STM32 host + ESP32 AT modem - MQTT cloud client\r\n");
  Console_Printf("  Device ID : %s\r\n", deviceId);
  Console_Printf("  Cmd topic : %s\r\n", topicCmd);
  Console_Printf("**********************************************\r\n");

  for (;;)
  {
    /* 1) Dynamic provisioning ------------------------------------------- */
    if (!haveCreds)
    {
      Provision_Run();
      haveCreds = true;
      backoffMs = BACKOFF_MIN_MS;
    }

    /* 2) ESP32 bring-up (AT, RST, ATE0, CWMODE) ------------------------- */
    if (!espReady)
    {
      if (!ESP_Init())
      {
        Log("Retrying in %lu s ...", (unsigned long)(backoffMs / 1000U));
        osDelay(MS2T(backoffMs));
        backoffMs = (backoffMs * 2U > BACKOFF_MAX_MS) ? BACKOFF_MAX_MS : (backoffMs * 2U);
        continue;
      }
      espReady = true;
    }

    /* 3) Wi-Fi (CWJAP) + MQTT session ----------------------------------- */
    SessResult_t r = Session_Establish();

    if (r == SESS_OK)
    {
      backoffMs = BACKOFF_MIN_MS;

      MonResult_t m = Monitor_Loop();       /* returns on link loss / re-provision */
      mqttUp = false;

      if (m == MON_REPROV)
      {
        Log("Re-provisioning requested - disconnecting");
        (void)AT_Command(3000, NULL, 0, "AT+MQTTCLEAN=%d", MQTT_LINK_ID);
        (void)AT_Command(3000, NULL, 0, "AT+CWQAP");
        wifiUp = false;
        haveCreds = false;
      }
      else
      {
        Log("Connection lost - reconnecting ...");
        osDelay(MS2T(BACKOFF_MIN_MS));
      }
      continue;
    }

    switch (r)
    {
      case SESS_BAD_CREDS:
        Log("Wi-Fi credentials rejected - please enter them again");
        haveCreds = false;
        break;

      case SESS_ESP_DEAD:
        Log("ESP32 not responding - will re-initialise it");
        espReady = false;
        osDelay(MS2T(backoffMs));
        break;

      case SESS_RETRY:
      default:
        Log("Retrying in %lu s ...", (unsigned long)(backoffMs / 1000U));
        osDelay(MS2T(backoffMs));
        break;
    }
    backoffMs = (backoffMs * 2U > BACKOFF_MAX_MS) ? BACKOFF_MAX_MS : (backoffMs * 2U);
  }
  /* USER CODE END 5 */
}

void Error_Handler(void)
{
  __disable_irq();
  while (1)
  {
  }
}
